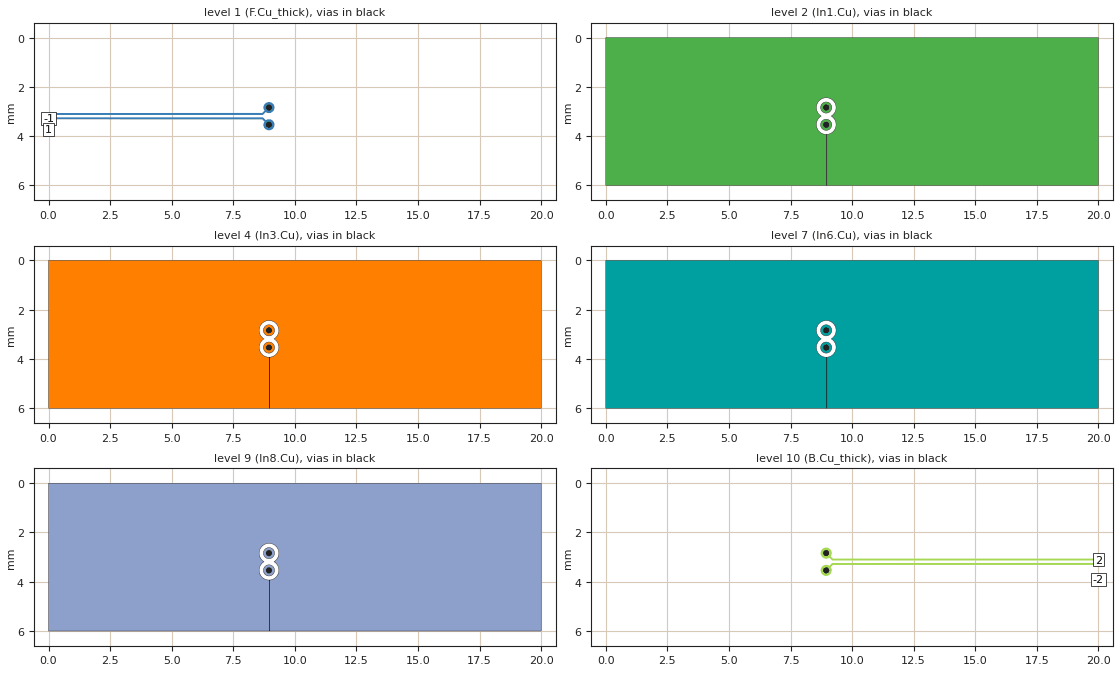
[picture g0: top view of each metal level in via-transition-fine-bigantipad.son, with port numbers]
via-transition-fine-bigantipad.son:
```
FTYP SONPROJ 19 ! Sonnet Project File
VER 18.56
HEADER
LIC antikernel2.1.52448
DAT 12/27/2023 05:16:19
BUILT_BY_CREATED xgeom 18.52 11/18/2021 20:28:07
BUILT_BY_SAVED sonnet 18.56
MDATE 12/27/2023 05:16:19
HDATE 12/27/2023 05:16:19
ANN Created by dxfgeo, Sonnet Software Inc.
END HEADER
DIM
ANG DEG
CAP PF
CON /OH
FREQ GHZ
IND NH
LNG MM
RES OH
END DIM
CONTROL
VARSWP
OPTIONS  -dj
SPEED 1
CACHE_ABS 2
Q_ACC N
END CONTROL
GEO
TMET "Free Space" 0 FREESPACE 376.7303136 0 0 0
BMET "Free Space" 0 FREESPACE 376.7303136 0 0 0
MET "Copper_1oz_thin" 1 NOR 58000000 0.5 0.035 
MET "Copper_1oz_thick" 2 TMM 58000000 0.5 0.035 2
MET "Copper_1oz_thick_down" 3 TMM 58000000 0.5 0.035 2 CDVY TDWN
MET "Copper_0.5oz_thin" 4 NOR 58000000 0.5 0.017 
MET "Copper_0.5oz_thick" 12 TMM 58000000 0.5 0.017 2
MET "Copper_0.5oz_thick_down" 5 TMM 58000000 0.5 0.017 2 CDVY TDWN
BOX 12 20 6 4000 1200 20 0
      5 1 1 0 0 0 0 "Air"
      0.04 3.5 1 0.025 0 0 0 "Soldermask"
      0.071 3.9 1 0.008 0 0 0 "TU-872_SLK"
      0.1 3.9 1 0.008 0 0 0 "TU-872_SLK"
      0.119 3.9 1 0.008 0 0 0 "TU-872_SLK"
      0.1 4.49 1 0.016 0 0 0 "Shengyi_S1000-2M"
      0.5 4.49 1 0.016 0 0 0 "Shengyi_S1000-2M"
      0.1 4.49 1 0.016 0 0 0 "Shengyi_S1000-2M"
      0.119 3.9 1 0.008 0 0 0 "TU-872_SLK"
      0.1 3.9 1 0.008 0 0 0 "TU-872_SLK"
      0.071 3.9 1 0.008 0 0 0 "TU-872_SLK"
      0.04 3.5 1 0.025 0 0 0 "Soldermask"
      5 1 1 0 0 0 0 "Air"
TECHLAY VIA Via1 L4D0 -13 -65534 CAD Via1 drawing 
VIA POLYGON
1 0 -1 N 386 1 1 100 100 0 0 0 Y
TOLEVEL 10 RING NOCOVERS
END
END
TECHLAY METAL F.Cu_thick L1D0 -2 -65534 CAD F.Cu_thick drawing 
1 0 1 N 331 1 1 100 100 0 0 0 Y
END
END
TECHLAY METAL F.Cu_thin <UNSPECIFIED> -1 -65534 CAD F.Cu_thin drawing 
1 0 0 N 335 1 1 100 100 0 0 0 Y
END
END
TECHLAY METAL In1.Cu L2D0 -3 -65534 CAD In1.Cu drawing 
2 0 0 N 338 1 1 100 100 0 0 0 Y
END
END
TECHLAY METAL In2.Cu_thick <UNSPECIFIED> -5 -65534 CAD In2.Cu_thick drawing 
3 0 4 N 341 1 1 100 100 0 0 0 Y
END
END
TECHLAY METAL In2.Cu_thin <UNSPECIFIED> -4 -65534 CAD In2.Cu drawing 
3 0 3 N 343 1 1 100 100 0 0 0 Y
END
END
TECHLAY METAL In3.Cu <UNSPECIFIED> -6 -65534 CAD In3.Cu drawing 
4 0 0 N 346 1 1 100 100 0 0 0 Y
END
END
TECHLAY METAL In4.Cu <UNSPECIFIED> -7 -65534 CAD In4.Cu drawing 
5 0 0 N 349 1 1 100 100 0 0 0 Y
END
END
TECHLAY METAL In5.Cu <UNSPECIFIED> -14 -65534 
6 0 0 N 352 1 1 100 100 0 0 0 Y
END
END
TECHLAY METAL In6.Cu <UNSPECIFIED> -15 -65534 
7 0 0 N 355 1 1 100 100 0 0 0 Y
END
END
TECHLAY METAL In7.Cu_thick <UNSPECIFIED> -9 -65534 CAD In5.Cu_thick drawing 
8 0 5 N 358 1 1 100 100 0 0 0 Y
END
END
TECHLAY METAL In7.Cu_thin <UNSPECIFIED> -8 -65534 CAD In5.Cu drawing 
8 0 3 N 360 1 1 100 100 0 0 0 Y
END
END
TECHLAY METAL In8.Cu <UNSPECIFIED> -10 -65534 CAD In6.Cu drawing 
9 0 0 N 363 1 1 100 100 0 0 0 Y
END
END
TECHLAY METAL B.Cu_thick L3D0 -12 -65534 CAD B.Cu_thick drawing 
10 0 2 N 366 1 1 100 100 0 0 0 Y
END
END
TECHLAY METAL B.Cu_thin <UNSPECIFIED> -11 -65534 CAD B.Cu_thin drawing 
10 0 0 N 370 1 1 100 100 0 0 0 Y
END
END
VALVAR CORE_ER NONE "table1(\"../../sata-sniffer/sims/core_er.csv\",FREQ)" "Variable set in material file"
VALVAR CORE_DF NONE "table1(\"../../sata-sniffer/sims/core_df.csv\",FREQ)" "Variable set in material file"
VALVAR PREPREG_DF NONE "table1(\"../../sata-sniffer/sims/prepreg_df.csv\",FREQ)" "Variable set in material file"
VALVAR PREPREG_ER NONE "table1(\"../../sata-sniffer/sims/prepreg_er.csv\",FREQ)" "Variable set in material file"
LORGN 0 6 U 
POR1 BOX
POLY 235 1
34
-1 100 0 0 0 0 3.275166449 
POR1 BOX
POLY 234 1
39
1 100 0 0 0 0 3.100833551 
POR1 BOX
POLY 281 1
71
2 100 0 0 0 20 3.100806041 
POR1 BOX
POLY 282 1
23
-2 100 0 0 0 20 3.27511874 
NUM 18
1 78 1 N 235 1 1 100 100 0 0 0 Y
TLAYNAM F.Cu_thick INH
9.171 3.505
9.166 3.483
9.16 3.462
9.151 3.442
9.141 3.422
9.129 3.404
9.115 3.387
9.099 3.371
9.082 3.357
9.064 3.345
9.044 3.335
9.024 3.326
9.003 3.32
8.981 3.315
8.959 3.313
8.937 3.313
8.915 3.315
8.893 3.32
8.872 3.326
8.852 3.335
8.832 3.345
8.819 3.353
8.72 3.254
8.718 3.251
8.715 3.249
8.712 3.246
8.709 3.244
8.705 3.242
8.702 3.241
8.701 3.241
8.698 3.24
8.69 3.238
8.686 3.238
8.682 3.239
0 3.235680626
0 3.314652272
8.672 3.318
8.763 3.409
8.755 3.422
8.745 3.442
8.736 3.462
8.73 3.483
8.725 3.505
8.723 3.527
8.723 3.549
8.725 3.571
8.73 3.593
8.736 3.614
8.745 3.634
8.755 3.654
8.767 3.672
8.781 3.689
8.797 3.705
8.814 3.719
8.832 3.731
8.852 3.741
8.872 3.75
8.893 3.756
8.915 3.761
8.937 3.763
8.959 3.763
8.981 3.761
9.003 3.756
9.024 3.75
9.044 3.741
9.064 3.731
9.082 3.719
9.099 3.705
9.115 3.689
9.129 3.672
9.141 3.654
9.151 3.634
9.16 3.614
9.166 3.593
9.171 3.571
9.173 3.549
9.173 3.527
9.171 3.505
END
1 76 1 N 234 1 1 100 100 0 0 0 Y
TLAYNAM F.Cu_thick INH
9.171 2.805
9.166 2.783
9.16 2.762
9.151 2.742
9.141 2.722
9.129 2.704
9.115 2.687
9.099 2.671
9.082 2.657
9.064 2.645
9.044 2.635
9.024 2.626
9.003 2.62
8.981 2.615
8.959 2.613
8.937 2.613
8.915 2.615
8.893 2.62
8.872 2.626
8.852 2.635
8.832 2.645
8.814 2.657
8.797 2.671
8.781 2.687
8.767 2.704
8.755 2.722
8.745 2.742
8.736 2.762
8.73 2.783
8.725 2.805
8.723 2.827
8.723 2.849
8.725 2.871
8.73 2.893
8.736 2.914
8.745 2.934
8.755 2.954
8.763 2.967
8.672 3.058
0 3.061347728
0 3.140319374
8.682 3.137
8.686 3.138
8.69 3.138
8.702 3.135
8.705 3.134
8.709 3.132
8.712 3.13
8.715 3.127
8.718 3.125
8.72 3.122
8.819 3.023
8.832 3.031
8.852 3.041
8.872 3.05
8.893 3.056
8.915 3.061
8.937 3.063
8.959 3.063
8.981 3.061
9.003 3.056
9.024 3.05
9.044 3.041
9.064 3.031
9.082 3.019
9.099 3.005
9.115 2.989
9.129 2.972
9.141 2.954
9.151 2.934
9.16 2.914
9.166 2.893
9.171 2.871
9.173 2.849
9.173 2.827
9.171 2.805
END
VIA POLYGON
1 53 -1 N 128 1 1 100 100 0 0 0 Y
TOLEVEL 10 RING NOCOVERS
9.073 3.538
9.071 3.562
9.068 3.574
9.063 3.586
9.058 3.597
9.052 3.607
9.045 3.617
9.027 3.635
9.017 3.642
9.007 3.648
8.996 3.653
8.984 3.658
8.972 3.661
8.948 3.663
8.924 3.661
8.912 3.658
8.9 3.653
8.889 3.648
8.879 3.642
8.869 3.635
8.851 3.617
8.844 3.607
8.838 3.597
8.833 3.586
8.828 3.574
8.825 3.562
8.823 3.538
8.825 3.514
8.828 3.502
8.833 3.49
8.838 3.479
8.844 3.469
8.851 3.459
8.869 3.441
8.879 3.434
8.889 3.428
8.9 3.423
8.912 3.418
8.924 3.415
8.948 3.413
8.972 3.415
8.984 3.418
8.996 3.423
9.007 3.428
9.017 3.434
9.027 3.441
9.045 3.459
9.052 3.469
9.058 3.479
9.063 3.49
9.068 3.502
9.071 3.514
9.073 3.538
END
VIA POLYGON
1 53 -1 N 129 1 1 100 100 0 0 0 Y
TOLEVEL 10 RING NOCOVERS
9.073 2.838
9.071 2.862
9.068 2.874
9.063 2.886
9.058 2.897
9.052 2.907
9.045 2.917
9.027 2.935
9.017 2.942
9.007 2.948
8.996 2.953
8.984 2.958
8.972 2.961
8.948 2.963
8.924 2.961
8.912 2.958
8.9 2.953
8.889 2.948
8.879 2.942
8.869 2.935
8.851 2.917
8.844 2.907
8.838 2.897
8.833 2.886
8.828 2.874
8.825 2.862
8.823 2.838
8.825 2.814
8.828 2.802
8.833 2.79
8.838 2.779
8.844 2.769
8.851 2.759
8.869 2.741
8.879 2.734
8.889 2.728
8.9 2.723
8.912 2.718
8.924 2.715
8.948 2.713
8.972 2.715
8.984 2.718
8.996 2.723
9.007 2.728
9.017 2.734
9.027 2.741
9.045 2.759
9.052 2.769
9.058 2.779
9.063 2.79
9.068 2.802
9.071 2.814
9.073 2.838
END
2 65 0 N 53 1 1 100 100 0 0 0 Y
TLAYNAM In1.Cu INH
9.173 2.849
9.171 2.871
9.166 2.893
9.16 2.914
9.151 2.934
9.141 2.954
9.129 2.972
9.115 2.989
9.099 3.005
9.082 3.019
9.064 3.031
9.044 3.041
9.024 3.05
9.003 3.056
8.981 3.061
8.959 3.063
8.937 3.063
8.915 3.061
8.893 3.056
8.872 3.05
8.852 3.041
8.832 3.031
8.814 3.019
8.797 3.005
8.781 2.989
8.767 2.972
8.755 2.954
8.745 2.934
8.736 2.914
8.73 2.893
8.725 2.871
8.723 2.849
8.723 2.827
8.725 2.805
8.73 2.783
8.736 2.762
8.745 2.742
8.755 2.722
8.767 2.704
8.781 2.687
8.797 2.671
8.814 2.657
8.832 2.645
8.852 2.635
8.872 2.626
8.893 2.62
8.915 2.615
8.937 2.613
8.959 2.613
8.981 2.615
9.003 2.62
9.024 2.626
9.044 2.635
9.064 2.645
9.082 2.657
9.099 2.671
9.115 2.687
9.129 2.704
9.141 2.722
9.151 2.742
9.16 2.762
9.166 2.783
9.171 2.805
9.173 2.827
9.173 2.849
END
2 65 0 N 52 1 1 100 100 0 0 0 Y
TLAYNAM In1.Cu INH
9.173 3.549
9.171 3.571
9.166 3.593
9.16 3.614
9.151 3.634
9.141 3.654
9.129 3.672
9.115 3.689
9.099 3.705
9.082 3.719
9.064 3.731
9.044 3.741
9.024 3.75
9.003 3.756
8.981 3.761
8.959 3.763
8.937 3.763
8.915 3.761
8.893 3.756
8.872 3.75
8.852 3.741
8.832 3.731
8.814 3.719
8.797 3.705
8.781 3.689
8.767 3.672
8.755 3.654
8.745 3.634
8.736 3.614
8.73 3.593
8.725 3.571
8.723 3.549
8.723 3.527
8.725 3.505
8.73 3.483
8.736 3.462
8.745 3.442
8.755 3.422
8.767 3.404
8.781 3.387
8.797 3.371
8.814 3.357
8.832 3.345
8.852 3.335
8.872 3.326
8.893 3.32
8.915 3.315
8.937 3.313
8.959 3.313
8.981 3.315
9.003 3.32
9.024 3.326
9.044 3.335
9.064 3.345
9.082 3.357
9.099 3.371
9.115 3.387
9.129 3.404
9.141 3.422
9.151 3.442
9.16 3.462
9.166 3.483
9.171 3.505
9.173 3.527
9.173 3.549
END
2 92 0 N 396 1 1 100 100 0 0 0 Y
TLAYNAM In1.Cu INH
20 0
0 0
0 6
8.976217385 6
8.976217385 3.93
8.923782615 3.93
8.871796431 3.923155889
8.821148333 3.909584772
8.772704922 3.889518854
8.727295078 3.863301469
8.685695778 3.831381203
8.648618797 3.794304222
8.616698531 3.752704922
8.590481146 3.707295078
8.570415228 3.658851667
8.556844111 3.608203569
8.55 3.556217385
8.55 3.503782615
8.556844111 3.451796431
8.570415228 3.401148333
8.590481146 3.352704922
8.616698531 3.307295078
8.648618797 3.265695778
8.685695778 3.228618797
8.727295078 3.196698531
8.747557529 3.185
8.727295078 3.173301469
8.685695778 3.141381203
8.648618797 3.104304222
8.616698531 3.062704922
8.590481146 3.017295078
8.570415228 2.968851667
8.556844111 2.918203569
8.55 2.866217385
8.55 2.813782615
8.556844111 2.761796431
8.570415228 2.711148333
8.590481146 2.662704922
8.616698531 2.617295078
8.648618797 2.575695778
8.685695778 2.538618797
8.727295078 2.506698531
8.772704922 2.480481146
8.821148333 2.460415228
8.871796431 2.446844111
8.923782615 2.44
8.976217385 2.44
9.028203569 2.446844111
9.078851667 2.460415228
9.127295078 2.480481146
9.172704922 2.506698531
9.214304222 2.538618797
9.251381203 2.575695778
9.283301469 2.617295078
9.309518854 2.662704922
9.329584772 2.711148333
9.343155889 2.761796431
9.35 2.813782615
9.35 2.866217385
9.343155889 2.918203569
9.329584772 2.968851667
9.309518854 3.017295078
9.283301469 3.062704922
9.251381203 3.104304222
9.214304222 3.141381203
9.172704922 3.173301469
9.152442471 3.185
9.172704922 3.196698531
9.214304222 3.228618797
9.251381203 3.265695778
9.283301469 3.307295078
9.309518854 3.352704922
9.329584772 3.401148333
9.343155889 3.451796431
9.35 3.503782615
9.35 3.556217385
9.35 3.556217385
9.35 3.556217385
9.343155889 3.608203569
9.329584772 3.658851667
9.309518854 3.707295078
9.283301469 3.752704922
9.251381203 3.794304222
9.214304222 3.831381203
9.172704922 3.863301469
9.127295078 3.889518854
9.078851667 3.909584772
9.028203569 3.923155889
8.976217385 3.93
8.976217385 6
20 6
20 0
END
4 65 0 N 305 1 1 100 100 0 0 0 Y
TLAYNAM In3.Cu INH
9.173 3.549
9.171 3.571
9.166 3.593
9.16 3.614
9.151 3.634
9.141 3.654
9.129 3.672
9.115 3.689
9.099 3.705
9.082 3.719
9.064 3.731
9.044 3.741
9.024 3.75
9.003 3.756
8.981 3.761
8.959 3.763
8.937 3.763
8.915 3.761
8.893 3.756
8.872 3.75
8.852 3.741
8.832 3.731
8.814 3.719
8.797 3.705
8.781 3.689
8.767 3.672
8.755 3.654
8.745 3.634
8.736 3.614
8.73 3.593
8.725 3.571
8.723 3.549
8.723 3.527
8.725 3.505
8.73 3.483
8.736 3.462
8.745 3.442
8.755 3.422
8.767 3.404
8.781 3.387
8.797 3.371
8.814 3.357
8.832 3.345
8.852 3.335
8.872 3.326
8.893 3.32
8.915 3.315
8.937 3.313
8.959 3.313
8.981 3.315
9.003 3.32
9.024 3.326
9.044 3.335
9.064 3.345
9.082 3.357
9.099 3.371
9.115 3.387
9.129 3.404
9.141 3.422
9.151 3.442
9.16 3.462
9.166 3.483
9.171 3.505
9.173 3.527
9.173 3.549
END
4 65 0 N 306 1 1 100 100 0 0 0 Y
TLAYNAM In3.Cu INH
9.173 2.849
9.171 2.871
9.166 2.893
9.16 2.914
9.151 2.934
9.141 2.954
9.129 2.972
9.115 2.989
9.099 3.005
9.082 3.019
9.064 3.031
9.044 3.041
9.024 3.05
9.003 3.056
8.981 3.061
8.959 3.063
8.937 3.063
8.915 3.061
8.893 3.056
8.872 3.05
8.852 3.041
8.832 3.031
8.814 3.019
8.797 3.005
8.781 2.989
8.767 2.972
8.755 2.954
8.745 2.934
8.736 2.914
8.73 2.893
8.725 2.871
8.723 2.849
8.723 2.827
8.725 2.805
8.73 2.783
8.736 2.762
8.745 2.742
8.755 2.722
8.767 2.704
8.781 2.687
8.797 2.671
8.814 2.657
8.832 2.645
8.852 2.635
8.872 2.626
8.893 2.62
8.915 2.615
8.937 2.613
8.959 2.613
8.981 2.615
9.003 2.62
9.024 2.626
9.044 2.635
9.064 2.645
9.082 2.657
9.099 2.671
9.115 2.687
9.129 2.704
9.141 2.722
9.151 2.742
9.16 2.762
9.166 2.783
9.171 2.805
9.173 2.827
9.173 2.849
END
4 90 0 N 398 1 1 100 100 0 0 0 Y
TLAYNAM In3.Cu INH
20 0
0 0
0 6
8.97621738 6
8.97621738 3.93
8.92378262 3.93
8.87179643 3.923155889
8.82114833 3.909584772
8.77270492 3.889518854
8.727295078 3.863301469
8.685695778 3.831381203
8.648618797 3.794304222
8.616698531 3.752704922
8.590481146 3.707295078
8.570415228 3.658851667
8.556844111 3.608203569
8.55 3.556217385
8.55 3.503782615
8.556844111 3.451796431
8.570415228 3.401148333
8.590481146 3.352704922
8.616698531 3.307295078
8.648618797 3.265695778
8.685695778 3.228618797
8.727295078 3.196698531
8.747557529 3.185
8.727295078 3.173301469
8.685695778 3.141381203
8.648618797 3.104304222
8.616698531 3.062704922
8.590481146 3.017295078
8.570415228 2.968851667
8.556844111 2.918203569
8.55 2.866217385
8.55 2.813782615
8.556844111 2.761796431
8.570415228 2.711148333
8.590481146 2.662704922
8.616698531 2.617295078
8.648618797 2.575695778
8.685695778 2.538618797
8.727295078 2.506698531
8.77270492 2.480481146
8.82114833 2.460415228
8.87179643 2.446844111
8.92378262 2.44
8.97621738 2.44
9.02820357 2.446844111
9.07885167 2.460415228
9.12729508 2.480481146
9.17270492 2.506698531
9.21430422 2.538618797
9.2513812 2.575695778
9.28330147 2.617295078
9.30951885 2.662704922
9.32958477 2.711148333
9.34315589 2.761796431
9.35 2.813782615
9.35 2.866217385
9.34315589 2.918203569
9.32958477 2.968851667
9.30951885 3.017295078
9.28330147 3.062704922
9.2513812 3.104304222
9.21430422 3.141381203
9.17270492 3.173301469
9.15244247 3.185
9.17270492 3.196698531
9.21430422 3.228618797
9.2513812 3.265695778
9.28330147 3.307295078
9.30951885 3.352704922
9.32958477 3.401148333
9.34315589 3.451796431
9.35 3.503782615
9.35 3.556217385
9.34315589 3.608203569
9.32958477 3.658851667
9.30951885 3.707295078
9.28330147 3.752704922
9.2513812 3.794304222
9.21430422 3.831381203
9.17270492 3.863301469
9.12729508 3.889518854
9.07885167 3.909584772
9.02820357 3.923155889
8.97621738 3.93
8.97621738 6
20 6
20 0
END
7 65 0 N 308 1 1 100 100 0 0 0 Y
TLAYNAM In6.Cu INH
9.173 3.549
9.171 3.571
9.166 3.593
9.16 3.614
9.151 3.634
9.141 3.654
9.129 3.672
9.115 3.689
9.099 3.705
9.082 3.719
9.064 3.731
9.044 3.741
9.024 3.75
9.003 3.756
8.981 3.761
8.959 3.763
8.937 3.763
8.915 3.761
8.893 3.756
8.872 3.75
8.852 3.741
8.832 3.731
8.814 3.719
8.797 3.705
8.781 3.689
8.767 3.672
8.755 3.654
8.745 3.634
8.736 3.614
8.73 3.593
8.725 3.571
8.723 3.549
8.723 3.527
8.725 3.505
8.73 3.483
8.736 3.462
8.745 3.442
8.755 3.422
8.767 3.404
8.781 3.387
8.797 3.371
8.814 3.357
8.832 3.345
8.852 3.335
8.872 3.326
8.893 3.32
8.915 3.315
8.937 3.313
8.959 3.313
8.981 3.315
9.003 3.32
9.024 3.326
9.044 3.335
9.064 3.345
9.082 3.357
9.099 3.371
9.115 3.387
9.129 3.404
9.141 3.422
9.151 3.442
9.16 3.462
9.166 3.483
9.171 3.505
9.173 3.527
9.173 3.549
END
7 65 0 N 309 1 1 100 100 0 0 0 Y
TLAYNAM In6.Cu INH
9.173 2.849
9.171 2.871
9.166 2.893
9.16 2.914
9.151 2.934
9.141 2.954
9.129 2.972
9.115 2.989
9.099 3.005
9.082 3.019
9.064 3.031
9.044 3.041
9.024 3.05
9.003 3.056
8.981 3.061
8.959 3.063
8.937 3.063
8.915 3.061
8.893 3.056
8.872 3.05
8.852 3.041
8.832 3.031
8.814 3.019
8.797 3.005
8.781 2.989
8.767 2.972
8.755 2.954
8.745 2.934
8.736 2.914
8.73 2.893
8.725 2.871
8.723 2.849
8.723 2.827
8.725 2.805
8.73 2.783
8.736 2.762
8.745 2.742
8.755 2.722
8.767 2.704
8.781 2.687
8.797 2.671
8.814 2.657
8.832 2.645
8.852 2.635
8.872 2.626
8.893 2.62
8.915 2.615
8.937 2.613
8.959 2.613
8.981 2.615
9.003 2.62
9.024 2.626
9.044 2.635
9.064 2.645
9.082 2.657
9.099 2.671
9.115 2.687
9.129 2.704
9.141 2.722
9.151 2.742
9.16 2.762
9.166 2.783
9.171 2.805
9.173 2.827
9.173 2.849
END
7 90 0 N 400 1 1 100 100 0 0 0 Y
TLAYNAM In6.Cu INH
20 0
0 0
0 6
8.97621738 6
8.97621738 3.93
8.92378262 3.93
8.87179643 3.923155889
8.82114833 3.909584772
8.77270492 3.889518854
8.727295078 3.863301469
8.685695778 3.831381203
8.648618797 3.794304222
8.616698531 3.752704922
8.590481146 3.707295078
8.570415228 3.658851667
8.556844111 3.608203569
8.55 3.556217385
8.55 3.503782615
8.556844111 3.451796431
8.570415228 3.401148333
8.590481146 3.352704922
8.616698531 3.307295078
8.648618797 3.265695778
8.685695778 3.228618797
8.727295078 3.196698531
8.747557529 3.185
8.727295078 3.173301469
8.685695778 3.141381203
8.648618797 3.104304222
8.616698531 3.062704922
8.590481146 3.017295078
8.570415228 2.968851667
8.556844111 2.918203569
8.55 2.866217385
8.55 2.813782615
8.556844111 2.761796431
8.570415228 2.711148333
8.590481146 2.662704922
8.616698531 2.617295078
8.648618797 2.575695778
8.685695778 2.538618797
8.727295078 2.506698531
8.77270492 2.480481146
8.82114833 2.460415228
8.87179643 2.446844111
8.92378262 2.44
8.97621738 2.44
9.02820357 2.446844111
9.07885167 2.460415228
9.12729508 2.480481146
9.17270492 2.506698531
9.21430422 2.538618797
9.2513812 2.575695778
9.28330147 2.617295078
9.30951885 2.662704922
9.32958477 2.711148333
9.34315589 2.761796431
9.35 2.813782615
9.35 2.866217385
9.34315589 2.918203569
9.32958477 2.968851667
9.30951885 3.017295078
9.28330147 3.062704922
9.2513812 3.104304222
9.21430422 3.141381203
9.17270492 3.173301469
9.15244247 3.185
9.17270492 3.196698531
9.21430422 3.228618797
9.2513812 3.265695778
9.28330147 3.307295078
9.30951885 3.352704922
9.32958477 3.401148333
9.34315589 3.451796431
9.35 3.503782615
9.35 3.556217385
9.34315589 3.608203569
9.32958477 3.658851667
9.30951885 3.707295078
9.28330147 3.752704922
9.2513812 3.794304222
9.21430422 3.831381203
9.17270492 3.863301469
9.12729508 3.889518854
9.07885167 3.909584772
9.02820357 3.923155889
8.97621738 3.93
8.97621738 6
20 6
20 0
END
9 65 0 N 311 1 1 100 100 0 0 0 Y
TLAYNAM In8.Cu INH
9.173 3.549
9.171 3.571
9.166 3.593
9.16 3.614
9.151 3.634
9.141 3.654
9.129 3.672
9.115 3.689
9.099 3.705
9.082 3.719
9.064 3.731
9.044 3.741
9.024 3.75
9.003 3.756
8.981 3.761
8.959 3.763
8.937 3.763
8.915 3.761
8.893 3.756
8.872 3.75
8.852 3.741
8.832 3.731
8.814 3.719
8.797 3.705
8.781 3.689
8.767 3.672
8.755 3.654
8.745 3.634
8.736 3.614
8.73 3.593
8.725 3.571
8.723 3.549
8.723 3.527
8.725 3.505
8.73 3.483
8.736 3.462
8.745 3.442
8.755 3.422
8.767 3.404
8.781 3.387
8.797 3.371
8.814 3.357
8.832 3.345
8.852 3.335
8.872 3.326
8.893 3.32
8.915 3.315
8.937 3.313
8.959 3.313
8.981 3.315
9.003 3.32
9.024 3.326
9.044 3.335
9.064 3.345
9.082 3.357
9.099 3.371
9.115 3.387
9.129 3.404
9.141 3.422
9.151 3.442
9.16 3.462
9.166 3.483
9.171 3.505
9.173 3.527
9.173 3.549
END
9 65 0 N 312 1 1 100 100 0 0 0 Y
TLAYNAM In8.Cu INH
9.173 2.849
9.171 2.871
9.166 2.893
9.16 2.914
9.151 2.934
9.141 2.954
9.129 2.972
9.115 2.989
9.099 3.005
9.082 3.019
9.064 3.031
9.044 3.041
9.024 3.05
9.003 3.056
8.981 3.061
8.959 3.063
8.937 3.063
8.915 3.061
8.893 3.056
8.872 3.05
8.852 3.041
8.832 3.031
8.814 3.019
8.797 3.005
8.781 2.989
8.767 2.972
8.755 2.954
8.745 2.934
8.736 2.914
8.73 2.893
8.725 2.871
8.723 2.849
8.723 2.827
8.725 2.805
8.73 2.783
8.736 2.762
8.745 2.742
8.755 2.722
8.767 2.704
8.781 2.687
8.797 2.671
8.814 2.657
8.832 2.645
8.852 2.635
8.872 2.626
8.893 2.62
8.915 2.615
8.937 2.613
8.959 2.613
8.981 2.615
9.003 2.62
9.024 2.626
9.044 2.635
9.064 2.645
9.082 2.657
9.099 2.671
9.115 2.687
9.129 2.704
9.141 2.722
9.151 2.742
9.16 2.762
9.166 2.783
9.171 2.805
9.173 2.827
9.173 2.849
END
9 90 0 N 402 1 1 100 100 0 0 0 Y
TLAYNAM In8.Cu INH
20 0
0 0
0 6
8.97621738 6
8.97621738 3.93
8.92378262 3.93
8.87179643 3.923155889
8.82114833 3.909584772
8.77270492 3.889518854
8.727295078 3.863301469
8.685695778 3.831381203
8.648618797 3.794304222
8.616698531 3.752704922
8.590481146 3.707295078
8.570415228 3.658851667
8.556844111 3.608203569
8.55 3.556217385
8.55 3.503782615
8.556844111 3.451796431
8.570415228 3.401148333
8.590481146 3.352704922
8.616698531 3.307295078
8.648618797 3.265695778
8.685695778 3.228618797
8.727295078 3.196698531
8.747557529 3.185
8.727295078 3.173301469
8.685695778 3.141381203
8.648618797 3.104304222
8.616698531 3.062704922
8.590481146 3.017295078
8.570415228 2.968851667
8.556844111 2.918203569
8.55 2.866217385
8.55 2.813782615
8.556844111 2.761796431
8.570415228 2.711148333
8.590481146 2.662704922
8.616698531 2.617295078
8.648618797 2.575695778
8.685695778 2.538618797
8.727295078 2.506698531
8.77270492 2.480481146
8.82114833 2.460415228
8.87179643 2.446844111
8.92378262 2.44
8.97621738 2.44
9.02820357 2.446844111
9.07885167 2.460415228
9.12729508 2.480481146
9.17270492 2.506698531
9.21430422 2.538618797
9.2513812 2.575695778
9.28330147 2.617295078
9.30951885 2.662704922
9.32958477 2.711148333
9.34315589 2.761796431
9.35 2.813782615
9.35 2.866217385
9.34315589 2.918203569
9.32958477 2.968851667
9.30951885 3.017295078
9.28330147 3.062704922
9.2513812 3.104304222
9.21430422 3.141381203
9.17270492 3.173301469
9.15244247 3.185
9.17270492 3.196698531
9.21430422 3.228618797
9.2513812 3.265695778
9.28330147 3.307295078
9.30951885 3.352704922
9.32958477 3.401148333
9.34315589 3.451796431
9.35 3.503782615
9.35 3.556217385
9.34315589 3.608203569
9.32958477 3.658851667
9.30951885 3.707295078
9.28330147 3.752704922
9.2513812 3.794304222
9.21430422 3.831381203
9.17270492 3.863301469
9.12729508 3.889518854
9.07885167 3.909584772
9.02820357 3.923155889
8.97621738 3.93
8.97621738 6
20 6
20 0
END
10 73 2 N 281 1 1 100 100 0 0 0 Y
TLAYNAM B.Cu_thick INH
20 3.061304508
9.224 3.058
9.133 2.967
9.141 2.954
9.151 2.934
9.16 2.914
9.166 2.893
9.171 2.871
9.173 2.849
9.173 2.827
9.171 2.805
9.166 2.783
9.16 2.762
9.151 2.742
9.141 2.722
9.129 2.704
9.115 2.687
9.099 2.671
9.082 2.657
9.064 2.645
9.044 2.635
9.024 2.626
9.003 2.62
8.981 2.615
8.959 2.613
8.937 2.613
8.915 2.615
8.893 2.62
8.872 2.626
8.852 2.635
8.832 2.645
8.814 2.657
8.797 2.671
8.781 2.687
8.767 2.704
8.755 2.722
8.745 2.742
8.736 2.762
8.73 2.783
8.725 2.805
8.723 2.827
8.723 2.849
8.725 2.871
8.73 2.893
8.736 2.914
8.745 2.934
8.755 2.954
8.767 2.972
8.781 2.989
8.797 3.005
8.814 3.019
8.832 3.031
8.852 3.041
8.872 3.05
8.893 3.056
8.915 3.061
8.937 3.063
8.959 3.063
8.981 3.061
9.003 3.056
9.024 3.05
9.044 3.041
9.064 3.031
9.077 3.023
9.184 3.13
9.188 3.132
9.191 3.134
9.195 3.135
9.198 3.136
9.202 3.137
9.214 3.137
20 3.140307574
20 3.061304508
END
10 73 2 N 282 1 1 100 100 0 0 0 Y
TLAYNAM B.Cu_thick INH
8.981 3.761
9.003 3.756
9.024 3.75
9.044 3.741
9.064 3.731
9.082 3.719
9.099 3.705
9.115 3.689
9.129 3.672
9.141 3.654
9.151 3.634
9.16 3.614
9.166 3.593
9.171 3.571
9.173 3.549
9.173 3.527
9.171 3.505
9.166 3.483
9.16 3.462
9.151 3.442
9.141 3.422
9.133 3.409
9.224 3.318
20 3.314607053
20 3.235630428
9.214 3.239
9.202 3.239
9.198 3.24
9.195 3.241
9.191 3.242
9.188 3.244
9.184 3.246
9.077 3.353
9.064 3.345
9.044 3.335
9.024 3.326
9.003 3.32
8.981 3.315
8.959 3.313
8.937 3.313
8.915 3.315
8.893 3.32
8.872 3.326
8.852 3.335
8.832 3.345
8.814 3.357
8.797 3.371
8.781 3.387
8.767 3.404
8.755 3.422
8.745 3.442
8.736 3.462
8.73 3.483
8.725 3.505
8.723 3.527
8.723 3.549
8.725 3.571
8.73 3.593
8.736 3.614
8.745 3.634
8.755 3.654
8.767 3.672
8.781 3.689
8.797 3.705
8.814 3.719
8.832 3.731
8.852 3.741
8.872 3.75
8.893 3.756
8.915 3.761
8.937 3.763
8.959 3.763
8.981 3.761
END
END GEO
OPT
MAX 100
END OPT
VARSWP
ENABLED Y
FREQ Y AY ABS_ENTRY 0.01 16.0 -1 300 
END
END VARSWP
```
